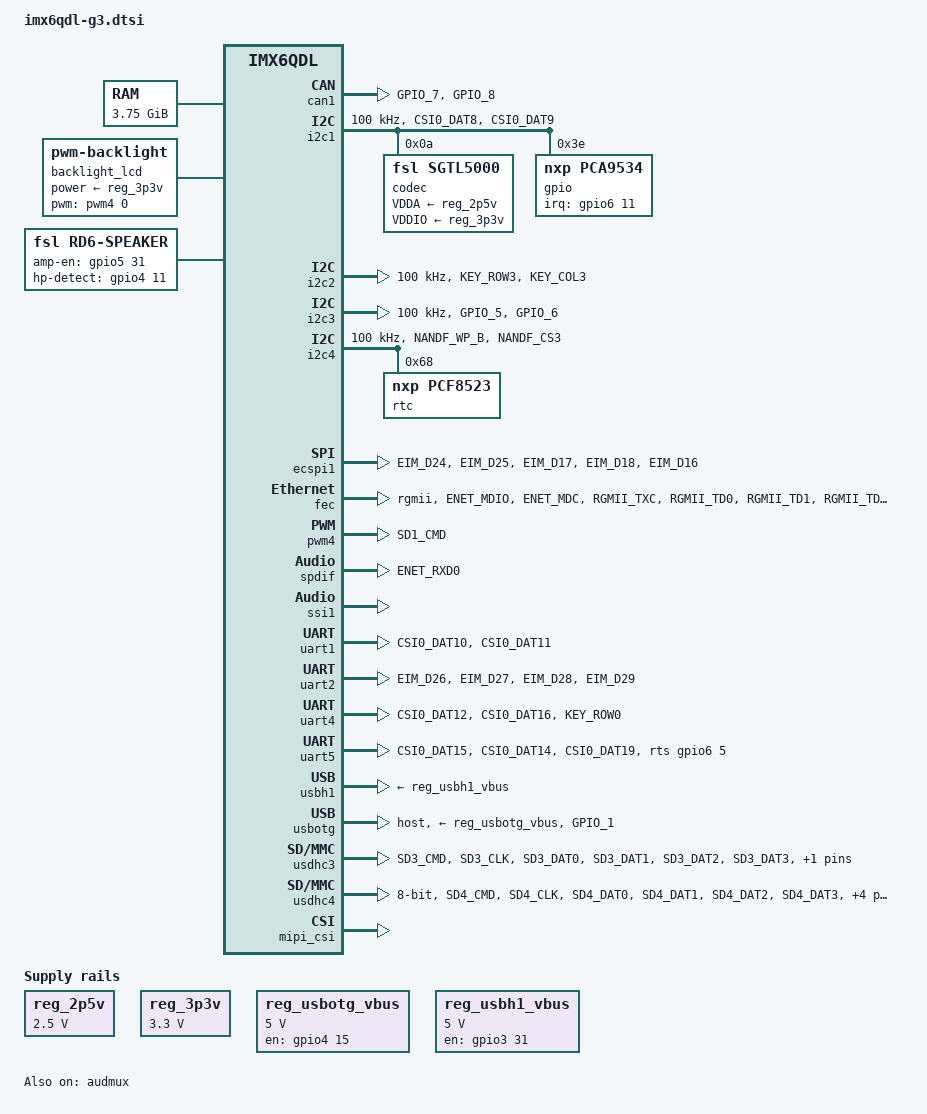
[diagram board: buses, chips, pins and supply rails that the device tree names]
/*
 * Copyright 2019 Reach Technology.
 *
 * This program is free software; you can redistribute it and/or modify
 * it under the terms of the GNU General Public License version 2 as
 * published by the Free Software Foundation.
 *
 */

#include <dt-bindings/gpio/gpio.h>
#include <dt-bindings/input/input.h>
#include <dt-bindings/pwm/pwm.h>

/ {
	aliases {
		mxcfb0 = &mxcfb1;
	};
    
	mxcfb1: fb@0 {
		compatible = "fsl,mxc_sdc_fb";
		default_bpp = <32>;
		int_clk = <0>;
		late_init = <0>;
		status = "disabled";
	};   
    
	lcd@0 {
		compatible = "fsl,lcd";
		ipu_id = <0>;
		disp_id = <0>;
		default_ifmt = "RGB666";
		pinctrl-names = "default";
		pinctrl-0 = <&pinctrl_ipu1>;
		backlight-enable-gpio = <&gpio2 0 0>;
		backlight-delay = <200>;
		status = "disabled";
	};

	v4l2_cap_0 {
		compatible = "fsl,imx6q-v4l2-capture";
		ipu_id = <0>;
		csi_id = <1>;
		mclk_source = <0>;
		mipi_camera = <1>;
		default_input = <1>;
		status = "disabled";
	};


	memory {
		reg = <0x10000000 0xF0000000>;
	};
    
	regulators {
		compatible = "simple-bus";
		#address-cells = <1>;
		#size-cells = <0>;

		reg_2p5v: regulator@0 {
			compatible = "regulator-fixed";
			reg = <0>;
			regulator-name = "2P5V";
			regulator-min-microvolt = <2500000>;
			regulator-max-microvolt = <2500000>;
			regulator-always-on;
		};

		reg_3p3v: regulator@1 {
			compatible = "regulator-fixed";
			reg = <1>;
			regulator-name = "3P3V";
			regulator-min-microvolt = <3300000>;
			regulator-max-microvolt = <3300000>;
			regulator-always-on;
		};

		reg_usbotg_vbus: regulator@2 {
			compatible = "regulator-fixed";
			reg = <2>;
			regulator-name = "usbotg_vbus";
			regulator-min-microvolt = <5000000>;
			regulator-max-microvolt = <5000000>;
			pinctrl-names = "default";
			pinctrl-0 = <&pinctrl_usbotg_vbus>;
			gpio = <&gpio4 15 GPIO_ACTIVE_HIGH>;
			enable-active-high;
		};

		reg_usbh1_vbus: regulator@3 {
			compatible = "regulator-fixed";
			reg = <3>;
			regulator-name = "usbh1_vbus";
			regulator-min-microvolt = <5000000>;
			regulator-max-microvolt = <5000000>;
			pinctrl-names = "default";
			pinctrl-0 = <&pinctrl_usbh1_vbus>;
			gpio = <&gpio3 31 GPIO_ACTIVE_HIGH>;
			enable-active-high;
		};
	};

	sound {
		compatible = "fsl,imx6-rd6-sgtl5000",
			     "fsl,imx-audio-sgtl5000";
		model = "imx6-rd6-sgtl5000";
		ssi-controller = <&ssi1>;
		audio-codec = <&codec>;
		audio-routing =
			"MIC_IN", "Mic Jack",
			"Mic Jack", "Mic Bias",
			"Headphone Jack", "HP_OUT";
		mux-int-port = <1>;
		mux-ext-port = <3>;
	};

	sound-spdif {
		compatible = "fsl,imx-audio-spdif";
		model = "imx-spdif";
		spdif-controller = <&spdif>;
		spdif-out;
	};

	backlight_lcd: backlight_lcd {
		compatible = "pwm-backlight";
		pwms = <&pwm4 0 5000000 0>;
		brightness-levels = <0 4 8 16 32 64 128 255>;
		default-brightness-level = <7>;
		power-supply = <&reg_3p3v>;
		status = "okay";
	};

	speaker {
		compatible = "fsl,rd6-speaker";
		amp-en-gpio = <&gpio5 31 GPIO_ACTIVE_HIGH>;
		hp-detect-gpio = <&gpio4 11 GPIO_ACTIVE_HIGH>;
		audio-codec = <&codec>;
		status = "okay";
	};
};

&audmux {
	pinctrl-names = "default";
	pinctrl-0 = <&pinctrl_audmux>;
	status = "okay";
};

&can1 {
	pinctrl-names = "default";
	pinctrl-0 = <&pinctrl_flexcan1>;
	status = "okay";
};

&i2c1 {
	clock-frequency = <100000>;
	pinctrl-names = "default";
	pinctrl-0 = <&pinctrl_i2c1>;
	status = "okay";
    
	codec: sgtl5000@0a {
		compatible = "fsl,sgtl5000";
		reg = <0x0a>;
		clocks = <&clks IMX6QDL_CLK_CKO>;
		VDDA-supply = <&reg_2p5v>;
		VDDIO-supply = <&reg_3p3v>;
	};

	focaltech_ts: focaltech_ts@38 {
		compatible = "focaltech,fts";
		reg = <0x38>;
		interrupt-parent = <&gpio4>;
		interrupts = <5 0>;
		focaltech,panel-type = <FT5426>;
		focaltech,reset-gpio = <&gpio7 8 0>;
		focaltech,irq-gpio = <&gpio4 5 0x0>;
		focaltech,display-coords =  <0 0 1280 800>;
		status = "disabled";
	};

	gpio: gpio@3e {
		compatible = "nxp,pca9534";
		reg = <0x3e>;
		interrupt-parent = <&gpio6>;
		interrupts = <11 IRQ_TYPE_EDGE_FALLING>;
		interrupt-controller;
		#interrupt-cells = <2>;
		gpio-controller;
		#gpio-cells = <2>;
		gpio-line-names =
			"J22-GP0", "J22-GP1", "J22-GP2", "J22-GP3", "J22-GP4", "J22-GP5", "J22-GP6", "J22-GP7";
	};
};

&i2c2 {
	clock-frequency = <100000>;
	pinctrl-names = "default";
	pinctrl-0 = <&pinctrl_i2c2>;
	status = "okay";

	ov5647_mipi: ov5647_mipi@36 {
		compatible = "ovti,ov5647_mipi";
		reg = <0x36>;
		clocks = <&clks 0>;
		clock-names = "csi_mclk";
		DOVDD-supply = <&reg_3p3v>;
		AVDD-supply = <&reg_3p3v>;
		DVDD-supply = <&reg_3p3v>;
		ipu_id = <0>;
		csi_id = <1>;
		mclk = <25000000>;
		mclk_source = <0>;
		extended-buffer;
		status = "disabled";
	};
};

&i2c3 {
	clock-frequency = <100000>;
	pinctrl-names = "default";
	pinctrl-0 = <&pinctrl_i2c3>;
	status = "okay";
};

&i2c4 {
	clock-frequency = <100000>;
	pinctrl-names = "default";
	pinctrl-0 = <&pinctrl_i2c4>;
	status = "okay";

	rtc: pcf8523@68 {
		compatible = "nxp,pcf8523";
		reg = <0x68>;
	};
};

&iomuxc {
	pinctrl-names = "default";
	pinctrl-0 = <&pinctrl_hog>;

	imx6qdl-rd6 {
        pinctrl_hog: hoggrp {
		fsl,pins = <
			/* SGTL5000 sys_mclk */
			MX6QDL_PAD_GPIO_0__CCM_CLKO1		0x030b0
			/* DISPLAY_EN */
			MX6QDL_PAD_NANDF_D3__GPIO2_IO03		0x130B0
			/* BACKLIGHT_EN */
			MX6QDL_PAD_NANDF_D0__GPIO2_IO00		0x130B0
			/* Focaltech interrupt */
			MX6QDL_PAD_GPIO_19__GPIO4_IO05		0x80000000
			/* Focaltech reset */
			MX6QDL_PAD_SD3_RST__GPIO7_IO08		0x80000000
			/* Speaker amp enable */
			MX6QDL_PAD_CSI0_DAT13__GPIO5_IO31	0x80000000
			/* headphone detect */
			MX6QDL_PAD_KEY_ROW2__GPIO4_IO11		0x80000000
			/* GPIO at J21-3 */
			MX6QDL_PAD_NANDF_CS2__GPIO6_IO15	0x1b0b0
			/* GPIO at J21-4 */
			MX6QDL_PAD_NANDF_D2__GPIO2_IO02		0x1b0b0
			/* led0 */
			MX6QDL_PAD_NANDF_D1__GPIO2_IO01		0x1b0b0
			/* led1 */
			MX6QDL_PAD_SD1_DAT0__GPIO1_IO16		0x1b0b0
			/* gpio expander interrupt */
			MX6QDL_PAD_NANDF_CS0__GPIO6_IO11	0x1f0b0
			>;
		};

	pinctrl_audmux: audmuxgrp {
		fsl,pins = <
			MX6QDL_PAD_CSI0_DAT7__AUD3_RXD		0x130b0
			MX6QDL_PAD_CSI0_DAT4__AUD3_TXC		0x130b0
			MX6QDL_PAD_CSI0_DAT5__AUD3_TXD		0x110b0
			MX6QDL_PAD_CSI0_DAT6__AUD3_TXFS		0x130b0
			>;
		};

	pinctrl_enet: enetgrp {
		fsl,pins = <
			MX6QDL_PAD_ENET_MDIO__ENET_MDIO       0x1b0b0
			MX6QDL_PAD_ENET_MDC__ENET_MDC         0x1b0b0
			MX6QDL_PAD_RGMII_TXC__RGMII_TXC       0x1b0b0
			MX6QDL_PAD_RGMII_TD0__RGMII_TD0       0x1b0b0
			MX6QDL_PAD_RGMII_TD1__RGMII_TD1       0x1b0b0
			MX6QDL_PAD_RGMII_TD2__RGMII_TD2       0x1b0b0
			MX6QDL_PAD_RGMII_TD3__RGMII_TD3       0x1b0b0
			MX6QDL_PAD_RGMII_TX_CTL__RGMII_TX_CTL 0x1b0b0
			MX6QDL_PAD_ENET_REF_CLK__ENET_TX_CLK  0x1b0b0
			MX6QDL_PAD_RGMII_RXC__RGMII_RXC       0x1b0b0
			MX6QDL_PAD_RGMII_RD0__RGMII_RD0       0x1b0b0
			MX6QDL_PAD_RGMII_RD1__RGMII_RD1       0x1b0b0
			MX6QDL_PAD_RGMII_RD2__RGMII_RD2       0x1b0b0
			MX6QDL_PAD_RGMII_RD3__RGMII_RD3       0x1b0b0
			MX6QDL_PAD_RGMII_RX_CTL__RGMII_RX_CTL 0x1b0b0
			MX6QDL_PAD_ENET_TX_EN__ENET_TX_EN     0x1b0b0
			>;
		};

        pinctrl_ecspi1: escpi1grp {
		fsl,pins = <
			MX6QDL_PAD_EIM_D24__GPIO3_IO24 0x80000000
			MX6QDL_PAD_EIM_D25__GPIO3_IO25 0x80000000
			MX6QDL_PAD_EIM_D17__ECSPI1_MISO 0x100b1
			MX6QDL_PAD_EIM_D18__ECSPI1_MOSI 0x100b1
			MX6QDL_PAD_EIM_D16__ECSPI1_SCLK 0x100b1
			>;
	    };

	pinctrl_flexcan1: flexcan1grp {
		fsl,pins = <
			MX6QDL_PAD_GPIO_7__FLEXCAN1_TX		0x1b0b0
			MX6QDL_PAD_GPIO_8__FLEXCAN1_RX		0x1b0b0
		>;
	};

        pinctrl_i2c1: i2c1grp {
		fsl,pins = <
			MX6QDL_PAD_CSI0_DAT8__I2C1_SDA      0x4001b8b1
			MX6QDL_PAD_CSI0_DAT9__I2C1_SCL      0x4001b8b1
			>;
		};

        pinctrl_i2c2: i2c2grp {
		fsl,pins = <
			MX6QDL_PAD_KEY_ROW3__I2C2_SDA      0x4001b8b1
			MX6QDL_PAD_KEY_COL3__I2C2_SCL      0x4001b8b1
			>;
		};

	pinctrl_i2c3: i2c3grp {
		fsl,pins = <
			MX6QDL_PAD_GPIO_5__I2C3_SCL         0x4001b8b1
			MX6QDL_PAD_GPIO_6__I2C3_SDA        0x4001b8b1
			>;
		};
        
	pinctrl_i2c4: i2c4grp {
		fsl,pins = <
			MX6QDL_PAD_NANDF_WP_B__I2C4_SCL     0x4001b8b1
			MX6QDL_PAD_NANDF_CS3__I2C4_SDA      0x4001b8b1
			>;
		};

        pinctrl_ipu1: ipu1grp {
		fsl,pins = <
			MX6QDL_PAD_DI0_DISP_CLK__IPU1_DI0_DISP_CLK 0x10
			MX6QDL_PAD_DI0_PIN15__IPU1_DI0_PIN15       0x10
			MX6QDL_PAD_DI0_PIN2__IPU1_DI0_PIN02        0x10
			MX6QDL_PAD_DI0_PIN3__IPU1_DI0_PIN03        0x10
			//MX6QDL_PAD_DI0_PIN4__IPU1_DI0_PIN04        0x80000000
			MX6QDL_PAD_DISP0_DAT0__IPU1_DISP0_DATA00   0x10
			MX6QDL_PAD_DISP0_DAT1__IPU1_DISP0_DATA01   0x10
			MX6QDL_PAD_DISP0_DAT2__IPU1_DISP0_DATA02   0x10
			MX6QDL_PAD_DISP0_DAT3__IPU1_DISP0_DATA03   0x10
			MX6QDL_PAD_DISP0_DAT4__IPU1_DISP0_DATA04   0x10
			MX6QDL_PAD_DISP0_DAT5__IPU1_DISP0_DATA05   0x10
			MX6QDL_PAD_DISP0_DAT6__IPU1_DISP0_DATA06   0x10
			MX6QDL_PAD_DISP0_DAT7__IPU1_DISP0_DATA07   0x10
			MX6QDL_PAD_DISP0_DAT8__IPU1_DISP0_DATA08   0x10
			MX6QDL_PAD_DISP0_DAT9__IPU1_DISP0_DATA09   0x10
			MX6QDL_PAD_DISP0_DAT10__IPU1_DISP0_DATA10  0x10
			MX6QDL_PAD_DISP0_DAT11__IPU1_DISP0_DATA11  0x10
			MX6QDL_PAD_DISP0_DAT12__IPU1_DISP0_DATA12  0x10
			MX6QDL_PAD_DISP0_DAT13__IPU1_DISP0_DATA13  0x10
			MX6QDL_PAD_DISP0_DAT14__IPU1_DISP0_DATA14  0x10
			MX6QDL_PAD_DISP0_DAT15__IPU1_DISP0_DATA15  0x10
			MX6QDL_PAD_DISP0_DAT16__IPU1_DISP0_DATA16  0x10
			MX6QDL_PAD_DISP0_DAT17__IPU1_DISP0_DATA17  0x10
			>;
	    };
        
        pinctrl_pwm4: pwm4grp {
		fsl,pins = <
			MX6QDL_PAD_SD1_CMD__PWM4_OUT 0x1b0b1
			>;
		};

	pinctrl_spdif: spdifgrp {
		fsl,pins = <
			MX6QDL_PAD_ENET_RXD0__SPDIF_OUT		0x1b0b0
			>;
		};

        pinctrl_tsc2046_pendown: tsc2046_pendown {
		fsl,pins = <
			/* PEN IRQ TSC2056 */
			MX6QDL_PAD_GPIO_9__GPIO1_IO09      0x1f0B0
			>;
		};
		
        pinctrl_uart1: uart1grp {
		fsl,pins = <
			MX6QDL_PAD_CSI0_DAT10__UART1_TX_DATA	0x1b0b1
			MX6QDL_PAD_CSI0_DAT11__UART1_RX_DATA	0x1b0b1
			>;
		};
        
        pinctrl_uart2: uart2grp {
		fsl,pins = <
			MX6QDL_PAD_EIM_D26__UART2_TX_DATA   0x1b0b1
			MX6QDL_PAD_EIM_D27__UART2_RX_DATA   0x1b0b1
			MX6QDL_PAD_EIM_D28__UART2_CTS_B     0x1b0b1
			MX6QDL_PAD_EIM_D29__UART2_RTS_B     0x1b0b1
			>;
		};
        
        pinctrl_uart4: uart4grp {
		fsl,pins = <
                	MX6QDL_PAD_CSI0_DAT12__UART4_TX_DATA 0x1b0b1
                	MX6QDL_PAD_CSI0_DAT16__GPIO6_IO02  0x4001b0b1
                	MX6QDL_PAD_KEY_ROW0__UART4_RX_DATA 0x1b0b1
			>;
		};
        
        pinctrl_uart5: uart5grp {
		fsl,pins = <
			MX6QDL_PAD_CSI0_DAT15__UART5_RX_DATA 0x1b0b1
			MX6QDL_PAD_CSI0_DAT14__UART5_TX_DATA 0x1b0b1
			MX6QDL_PAD_CSI0_DAT19__GPIO6_IO05    0x4001b0b1
			>;
		};

        pinctrl_usbh1_vbus: usbh1_vbusgrp {
		fsl,pins = <
			/* USB Power Enable */
			MX6QDL_PAD_EIM_D31__GPIO3_IO31		0x1b0b0
			>;
	    };

	pinctrl_usbotg: usbotggrp {
		fsl,pins = <
	                /* OTG ID Pin */
	                MX6QDL_PAD_GPIO_1__GPIO1_IO01       0x80000000
			>;
		};

        pinctrl_usbotg_vbus: usbotg_vbusgrp {
		fsl,pins = <
	                /* OTG Power Enable */
	                MX6QDL_PAD_KEY_ROW4__GPIO4_IO15     0x1b0b0
			>;
		};

	pinctrl_usdhc3: usdhc3grp {
		fsl,pins = <
			MX6QDL_PAD_SD3_CMD__SD3_CMD		0x17059
			MX6QDL_PAD_SD3_CLK__SD3_CLK		0x10059
			MX6QDL_PAD_SD3_DAT0__SD3_DATA0		0x17059
			MX6QDL_PAD_SD3_DAT1__SD3_DATA1		0x17059
			MX6QDL_PAD_SD3_DAT2__SD3_DATA2		0x17059
			MX6QDL_PAD_SD3_DAT3__SD3_DATA3		0x17059
			>;
		};

		pinctrl_usdhc4: usdhc4grp {
		fsl,pins = <
			MX6QDL_PAD_SD4_CMD__SD4_CMD		0x17059
			MX6QDL_PAD_SD4_CLK__SD4_CLK		0x10059
			MX6QDL_PAD_SD4_DAT0__SD4_DATA0		0x17059
			MX6QDL_PAD_SD4_DAT1__SD4_DATA1		0x17059
			MX6QDL_PAD_SD4_DAT2__SD4_DATA2		0x17059
			MX6QDL_PAD_SD4_DAT3__SD4_DATA3		0x17059
			MX6QDL_PAD_SD4_DAT4__SD4_DATA4		0x17059
			MX6QDL_PAD_SD4_DAT5__SD4_DATA5		0x17059
			MX6QDL_PAD_SD4_DAT6__SD4_DATA6		0x17059
			MX6QDL_PAD_SD4_DAT7__SD4_DATA7		0x17059
			>;
		};

	};
};

&ecspi1 {
	fsl,spi-num-chipselects = <4>;
	cs-gpios = <0>, <0>, <&gpio3 24 0>, <&gpio3 25 0> ;
	pinctrl-names = "default";
	pinctrl-0 = <&pinctrl_ecspi1>;
	status = "okay";

	tsc2046: touch@3 {
		compatible = "ti,tsc2046";
		reg = <3>;	/* CS3 */
		spi-max-frequency = <1000000>;
		pinctrl-names = "default";
		pinctrl-0 = <&pinctrl_tsc2046_pendown>;
		interrupt-parent = <&gpio1>;
		interrupts = <9 0>;
		pendown-gpio = <&gpio1 9 GPIO_ACTIVE_HIGH>;
		vcc-supply = <&reg_3p3v>;

		ti,settle-delay-usec = /bits/ 16 <100>; 
		ti,vref-delay-usecs = /bits/ 16 <450>;
		ti,keep-vref-on = /bits/ 16 <1>;
		ti,x-plate-ohms = /bits/ 16 <450>;
		ti,y-plate-ohms = /bits/ 16 <250>;
		ti,pressure-max = /bits/ 16 <255>;
		ti,debounce-rep = /bits/ 16 <4>;
		ti,debounce-tol = /bits/ 16 <10>;
		ti,debounce-max = /bits/ 16 <10>;

		wakeup-source;
	status = "disabled";
	};
};

&fec {
	pinctrl-names = "default";
	pinctrl-0 = <&pinctrl_enet>;
	phy-mode = "rgmii";
	phy-reset-gpios = <&gpio1 25 0>;
	fsl,magic-packet;
	status = "okay";
};

&ldb {
	backlight-enable-gpio = <&gpio2 0 0>;
	backlight-delay = <10>;
	status = "disabled";

	lvds-channel@0 {
		primary;
		crtc = "ipu1-di0";
		status = "disabled";
		};
};

&pcie {
	status = "disabled";
};

&pwm4 {
	pinctrl-names = "default";
	pinctrl-0 = <&pinctrl_pwm4>;
	#pwm-cells = <3>;
  	status = "okay";
};

&spdif {
	pinctrl-names = "default";
	pinctrl-0 = <&pinctrl_spdif>;
	status = "okay";
};

&ssi1 {
	status = "okay";
};

&uart1 {
	pinctrl-names = "default";
	pinctrl-0 = <&pinctrl_uart1>;
	status = "okay";
};

&uart2 {
	pinctrl-names = "default";
	pinctrl-0 = <&pinctrl_uart2>;
	uart-has-rtscts;
	status = "okay";
};

&uart4 {
	pinctrl-names = "default";
	pinctrl-0 = <&pinctrl_uart4>;
	status = "okay";
};

&uart5 {
	pinctrl-names = "default";
	pinctrl-0 = <&pinctrl_uart5>;
	rts-gpios = <&gpio6 5 GPIO_ACTIVE_HIGH>;
	status = "okay";
};

&usbh1 {
	vbus-supply = <&reg_usbh1_vbus>;
	status = "okay";
};

&usbotg {
	vbus-supply = <&reg_usbotg_vbus>;
	pinctrl-names = "default";
	pinctrl-0 = <&pinctrl_usbotg>;
	disable-over-current;
	dr_mode = "host";
	status = "okay";
};

&usdhc3 {
	pinctrl-names = "default";
	pinctrl-0 = <&pinctrl_usdhc3>;
	cd-gpios = <&gpio1 2 GPIO_ACTIVE_LOW>;
	status = "okay";
};

&usdhc4 {
	pinctrl-names = "default";
	pinctrl-0 = <&pinctrl_usdhc4>;
	bus-width = <8>;
	status = "okay";
};

&mipi_csi {
	ipu_id = <0>;
	csi_id = <1>;
	v_channel = <0>;
	lanes = <2>;
	mipi_dphy_clk = <0x28>;
	status = "okay";
};
